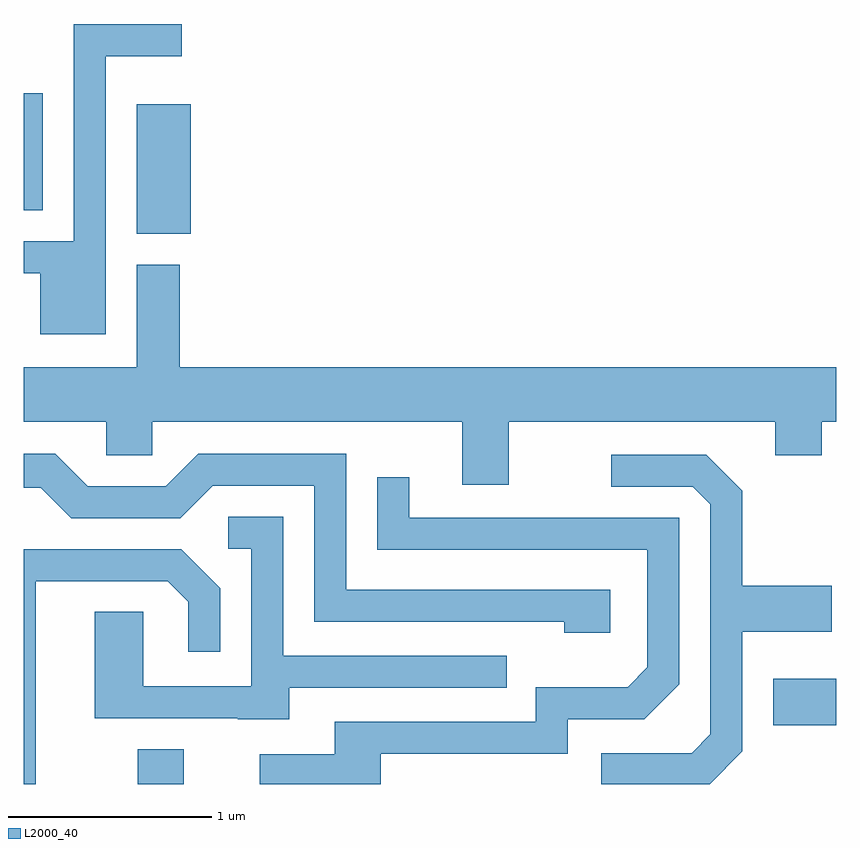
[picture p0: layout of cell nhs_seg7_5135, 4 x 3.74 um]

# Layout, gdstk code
import gdstk
lib = gdstk.Library(unit=1e-6, precision=1e-09)
def R(c, l, rs):  # rectangles x0, y0, x1, y1
    for r in rs: c.add(gdstk.rectangle(r[:2], r[2:], *l))
def P(c, l, *ps):  # polygons
    for p in ps: c.add(gdstk.Polygon(p, *l))
L2000_40 = (2000, 40)

nhs_seg7_5135 = lib.new_cell('nhs_seg7_5135')
R(nhs_seg7_5135, L2000_40, [(342.171,1770.252,342.399,1770.424), (345.301,1770.541,345.611,1770.769), (342.166,1772.961,342.434,1773.599), (341.611,1773.076,341.704,1773.654)])
P(nhs_seg7_5135, L2000_40, [(342.014,1773.836),(342.388,1773.836),(342.388,1773.994),(341.856,1773.994),(341.856,1772.924),(341.611,1772.924),(341.611,1772.766),(341.691,1772.766),(341.691,1772.466),(342.014,1772.466)],
  [(343.999,1772.036),(345.311,1772.036),(345.311,1771.871),(345.539,1771.871),(345.539,1772.036),(345.611,1772.036),(345.611,1772.304),(342.379,1772.304),(342.379,1772.809),(342.166,1772.809),(342.166,1772.304),(341.611,1772.304),(341.611,1772.036),(342.016,1772.036),(342.016,1771.871),(342.244,1771.871),(342.244,1772.036),(343.771,1772.036),(343.771,1771.726),(343.999,1771.726)],
  [(344.499,1771.209),(343.199,1771.209),(343.199,1771.879),(342.469,1771.879),(342.309,1771.719),(341.927,1771.719),(341.767,1771.879),(341.611,1771.879),(341.611,1771.711),(341.694,1771.711),(341.844,1771.561),(342.382,1771.561),(342.542,1771.721),(343.041,1771.721),(343.041,1771.051),(344.271,1771.051),(344.271,1770.996),(344.499,1770.996)],
  [(345.149,1770.414),(345.149,1771.001),(345.589,1771.001),(345.589,1771.229),(345.149,1771.229),(345.149,1771.697),(344.972,1771.874),(344.503,1771.874),(344.503,1771.716),(344.904,1771.716),(344.991,1771.629),(344.991,1770.497),(344.899,1770.404),(344.453,1770.404),(344.453,1770.252),(344.988,1770.252)],
  [(343.369,1770.401),(344.289,1770.401),(344.289,1770.571),(344.667,1770.571),(344.839,1770.744),(344.839,1771.564),(343.509,1771.564),(343.509,1771.763),(343.351,1771.763),(343.351,1771.406),(344.681,1771.406),(344.681,1770.827),(344.584,1770.729),(344.131,1770.729),(344.131,1770.559),(343.141,1770.559),(343.141,1770.399),(342.773,1770.399),(342.773,1770.252),(343.369,1770.252)],
  [(342.919,1770.726),(343.988,1770.726),(343.988,1770.884),(342.889,1770.884),(342.889,1771.569),(342.618,1771.569),(342.618,1771.411),(342.731,1771.411),(342.731,1770.734),(342.199,1770.734),(342.199,1771.099),(341.961,1771.099),(341.961,1770.576),(342.665,1770.576),(342.665,1770.571),(342.919,1770.571)],
  [(341.669,1771.251),(342.319,1771.251),(342.421,1771.149),(342.421,1770.903),(342.579,1770.903),(342.579,1771.217),(342.387,1771.409),(341.611,1771.409),(341.611,1770.252),(341.669,1770.252)])

lib.write_gds('nhs_seg7_5135.gds')
